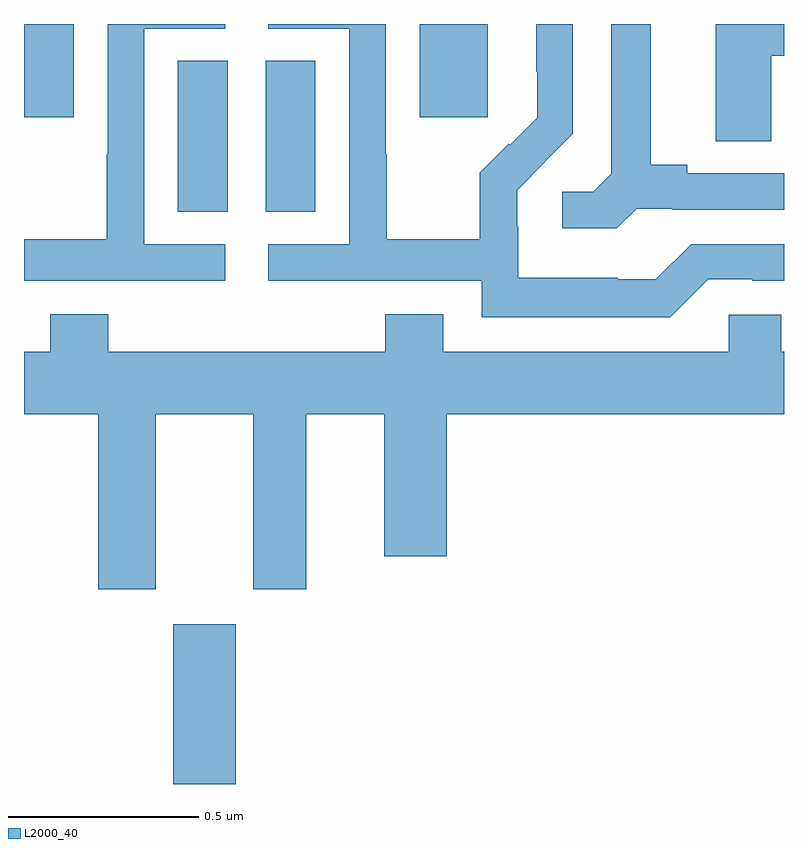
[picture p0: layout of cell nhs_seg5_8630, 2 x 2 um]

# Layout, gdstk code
import gdstk
lib = gdstk.Library(unit=1e-6, precision=1e-09)
def R(c, l, rs):  # rectangles x0, y0, x1, y1
    for r in rs: c.add(gdstk.rectangle(r[:2], r[2:], *l))
def P(c, l, *ps):  # polygons
    for p in ps: c.add(gdstk.Polygon(p, *l))
L2000_40 = (2000, 40)

nhs_seg5_8630 = lib.new_cell('nhs_seg5_8630')
R(nhs_seg5_8630, L2000_40, [(224.393,843.799,224.557,844.219), (224.405,845.305,224.536,845.702), (224.636,845.305,224.767,845.702), (224,845.553,224.131,845.799), (225.041,845.553,225.22,845.799)])
P(nhs_seg5_8630, L2000_40, [(225.966,845.715),(226,845.715),(226,845.799),(225.821,845.799),(225.821,845.491),(225.966,845.491)],
  [(225.801,845.127),(225.917,845.127),(225.917,845.124),(226,845.124),(226,845.22),(225.756,845.22),(225.663,845.127),(225.563,845.127),(225.563,845.131),(225.3,845.131),(225.3,845.265),(225.298,845.265),(225.298,845.362),(225.372,845.436),(225.371,845.437),(225.444,845.51),(225.444,845.799),(225.348,845.799),(225.348,845.674),(225.35,845.674),(225.35,845.552),(225.279,845.481),(225.276,845.484),(225.199,845.407),(225.199,845.233),(224.955,845.233),(224.955,845.456),(224.952,845.456),(224.952,845.799),(224.643,845.799),(224.643,845.787),(224.856,845.787),(224.856,845.22),(224.643,845.22),(224.643,845.124),(225.204,845.124),(225.204,845.027),(225.701,845.027)],
  [(225.612,845.313),(225.706,845.313),(225.706,845.31),(226,845.31),(226,845.406),(225.745,845.406),(225.745,845.429),(225.649,845.429),(225.649,845.799),(225.545,845.799),(225.545,845.405),(225.498,845.358),(225.417,845.358),(225.417,845.261),(225.56,845.261)],
  [(224.53,845.22),(224.316,845.22),(224.316,845.787),(224.53,845.787),(224.53,845.799),(224.22,845.799),(224.22,845.456),(224.218,845.456),(224.218,845.233),(224,845.233),(224,845.124),(224.53,845.124)],
  [(224.347,844.772),(224.603,844.772),(224.603,844.311),(224.743,844.311),(224.743,844.772),(224.948,844.772),(224.948,844.398),(225.112,844.398),(225.112,844.772),(226,844.772),(226,844.936),(225.993,844.936),(225.993,845.034),(225.855,845.034),(225.855,844.936),(225.103,844.936),(225.103,845.035),(224.951,845.035),(224.951,844.936),(224.222,844.936),(224.222,845.035),(224.069,845.035),(224.069,844.936),(224,844.936),(224,844.772),(224.195,844.772),(224.195,844.311),(224.347,844.311)])

lib.write_gds('nhs_seg5_8630.gds')
